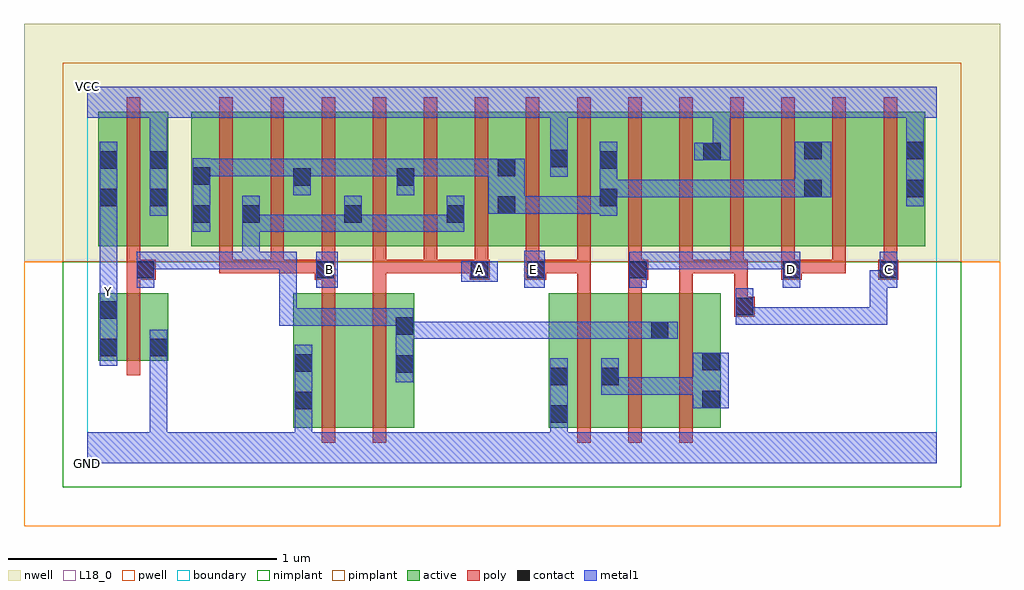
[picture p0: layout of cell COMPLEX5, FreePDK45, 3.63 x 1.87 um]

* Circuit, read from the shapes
.subckt COMPLEX5 A B C D E GND VCC Y
M1 GND n1 Y VSUBS nfet w=0.25u l=0.05u
M2 n2 B GND VSUBS nfet w=0.5u l=0.05u
M3 n1 A n2 VSUBS nfet w=0.5u l=0.05u
M4 n3 E GND VSUBS nfet w=0.5u l=0.05u
M5 n1 D n3 VSUBS nfet w=0.5u l=0.05u
M6 n3 C n1 VSUBS nfet w=0.5u l=0.05u
M7 VCC n1 Y n4 pfet w=0.5u l=0.05u
M8 n1 B n5 n4 pfet w=0.5u l=0.05u m=3
M9 n5 A n1 n4 pfet w=0.5u l=0.05u m=3
M10 VCC E n5 n4 pfet w=0.5u l=0.05u m=2
M11 n6 D n5 n4 pfet w=0.5u l=0.05u
M12 VCC C n6 n4 pfet w=0.5u l=0.05u
M13 n7 C VCC n4 pfet w=0.5u l=0.05u
M14 n5 D n7 n4 pfet w=0.5u l=0.05u
M15 n8 D n5 n4 pfet w=0.5u l=0.05u
M16 VCC C n8 n4 pfet w=0.5u l=0.05u
.ends

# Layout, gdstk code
import gdstk
lib = gdstk.Library(unit=1e-6, precision=1e-09)
def R(c, l, rs):  # rectangles x0, y0, x1, y1
    for r in rs: c.add(gdstk.rectangle(r[:2], r[2:], *l))
def A(c, l, x, y, w, h, nx, ny, dx, dy):  # array of equal rectangles
    R(c, l, [(x+i*dx, y+j*dy, x+i*dx+w, y+j*dy+h) for i in range(nx) for j in range(ny)])
active = (1, 0)
pwell = (2, 0)
nwell = (3, 0)
nimplant = (4, 0)
pimplant = (5, 0)
poly = (9, 0)
contact = (10, 0)
metal1 = (11, 0)
L18_0 = (18, 0)
boundary = (235, 0)

complex5 = lib.new_cell('COMPLEX5')
A(complex5, active, 0.572, 0.807, 0.075, 0.263, 3, 1, 0.38, 0)
R(complex5, active, [(0.767,0.132,0.992,0.632), (0.767,0.132,0.842,0.592), (0.992,0.132,1.217,0.632), (1.717,0.132,1.982,0.632), (1.717,0.132,1.792,0.632), (1.907,0.132,2.167,0.632), (2.092,0.132,2.357,0.632), (1.142,0.195,1.217,0.632), (1.907,0.195,1.982,0.592), (2.092,0.195,2.167,0.592), (2.282,0.195,2.357,0.632), (0.042,0.382,0.117,0.632), (0.042,0.382,0.302,0.632), (0.227,0.382,0.302,0.632), (0.042,0.807,0.302,1.307), (0.042,0.807,0.117,1.2), (0.227,0.807,0.302,1.307), (0.387,0.807,0.647,1.307), (0.387,0.807,0.462,1.2), (0.572,0.807,0.837,1.307), (0.762,0.807,1.027,1.307), (0.762,0.807,0.837,1.2), (0.952,0.807,1.222,1.307), (1.147,0.807,1.407,1.307), (1.147,0.807,1.222,1.2), (1.332,0.807,1.597,1.307), (1.522,0.807,1.597,1.2), (1.522,0.807,1.792,1.307), (1.717,0.807,1.977,1.307), (1.717,0.807,1.792,1.307), (1.902,0.807,2.132,1.307), (1.902,0.807,1.977,1.2), (2.132,0.807,2.362,1.307), (2.287,0.807,2.362,1.307), (2.287,0.807,2.512,1.307), (2.512,0.807,2.737,1.307), (2.662,0.807,2.892,1.307), (2.662,0.807,2.737,1.2), (2.892,0.807,3.117,1.307), (3.042,0.807,3.117,1.307)])
R(complex5, pwell, [(-0.235,-0.235,3.395,0.75)])
R(complex5, nwell, [(-0.235,0.75,3.395,1.635)])
R(complex5, nimplant, [(-0.09,-0.09,3.25,0.75)])
R(complex5, pimplant, [(-0.09,0.75,3.25,1.49)])
A(complex5, poly, 1.822, 0.077, 0.05, 0.61, 3, 1, 0.19, 0)
A(complex5, poly, 0.492, 0.707, 0.05, 0.095, 14, 1, 0.19, 0)
A(complex5, poly, 0.492, 0.752, 0.05, 0.61, 14, 1, 0.19, 0)
R(complex5, poly, [(0.872,0.077,0.922,0.687), (1.062,0.077,1.112,0.687), (0.147,0.327,0.197,0.687), (2.407,0.545,2.482,0.62), (2.407,0.57,2.457,0.757), (0.147,0.637,0.197,0.732), (0.872,0.637,0.922,0.732), (1.062,0.637,1.112,0.757), (1.822,0.637,1.872,0.757), (2.012,0.637,2.062,0.732), (2.202,0.637,2.252,0.757), (0.147,0.682,0.255,0.757), (0.847,0.682,0.922,0.757), (1.422,0.682,1.497,0.757), (1.632,0.682,1.707,0.757), (2.012,0.682,2.087,0.757), (2.582,0.682,2.657,0.757), (2.942,0.682,3.017,0.757), (0.147,0.707,0.197,0.802), (0.492,0.707,0.542,0.757), (0.492,0.707,0.542,0.757), (0.492,0.707,0.542,0.757), (0.492,0.707,0.732,0.757), (0.682,0.707,0.732,0.757), (0.682,0.707,0.732,0.757), (0.682,0.707,0.732,0.757), (0.682,0.707,0.897,0.757), (1.062,0.707,1.112,0.757), (1.062,0.707,1.112,0.757), (1.062,0.707,1.112,0.757), (1.062,0.707,1.302,0.757), (1.252,0.707,1.302,0.757), (1.252,0.707,1.302,0.757), (1.252,0.707,1.302,0.757), (1.252,0.707,1.472,0.757), (1.657,0.707,1.872,0.757), (1.822,0.707,1.872,0.757), (1.822,0.707,1.872,0.757), (1.822,0.707,1.872,0.757), (2.202,0.707,2.252,0.757), (2.202,0.707,2.252,0.757), (2.202,0.707,2.252,0.757), (2.202,0.707,2.442,0.757), (2.392,0.707,2.457,0.757), (2.407,0.707,2.457,0.757), (2.407,0.707,2.457,0.757), (2.607,0.707,2.822,0.757), (2.772,0.707,2.822,0.757), (2.772,0.707,2.822,0.757), (2.772,0.707,2.822,0.757), (0.147,0.752,0.197,1.362)])
A(complex5, contact, 0.577, 0.895, 0.065, 0.065, 3, 1, 0.38, 0)
R(complex5, contact, [(1.722,0.15,1.787,0.215), (0.772,0.2,0.837,0.265), (2.287,0.205,2.352,0.27), (1.722,0.29,1.787,0.355), (1.912,0.29,1.977,0.355), (1.147,0.337,1.212,0.402), (0.772,0.34,0.837,0.405), (2.287,0.345,2.352,0.41), (0.047,0.397,0.112,0.462), (0.232,0.397,0.297,0.462), (2.097,0.462,2.162,0.527), (1.147,0.477,1.212,0.542), (0.047,0.537,0.112,0.602), (2.412,0.55,2.477,0.615), (0.185,0.687,0.25,0.752), (0.852,0.687,0.917,0.752), (1.427,0.687,1.492,0.752), (1.637,0.687,1.702,0.752), (2.017,0.687,2.082,0.752), (2.587,0.687,2.652,0.752), (2.947,0.687,3.012,0.752), (0.392,0.895,0.457,0.96), (1.527,0.927,1.592,0.992), (0.047,0.955,0.112,1.02), (0.232,0.955,0.297,1.02), (1.907,0.955,1.972,1.02), (2.667,0.99,2.732,1.055), (3.047,0.99,3.112,1.055), (0.767,1.032,0.832,1.097), (1.152,1.032,1.217,1.097), (0.392,1.035,0.457,1.1), (1.527,1.067,1.592,1.132), (0.047,1.095,0.112,1.16), (0.232,1.095,0.297,1.16), (1.907,1.095,1.972,1.16), (1.722,1.1,1.787,1.165), (2.292,1.127,2.357,1.192), (2.667,1.13,2.732,1.195), (3.047,1.13,3.112,1.195)])
A(complex5, metal1, 0.577, 0.86, 0.065, 0.135, 3, 1, 0.38, 0)
R(complex5, metal1, [(0,0,3.16,0.115), (0.232,0.05,0.297,0.115), (0.232,0.05,0.297,0.115), (0.232,0.05,0.297,0.115), (0.232,0.05,0.297,0.115), (0.232,0.05,0.297,0.115), (0.232,0.05,0.297,0.115), (0.232,0.05,0.297,0.427), (0.772,0.05,0.837,0.115), (0.772,0.05,0.837,0.115), (0.772,0.05,0.837,0.23), (1.722,0.05,1.787,0.18), (1.722,0.115,1.787,0.39), (1.722,0.115,1.787,0.18), (1.722,0.115,1.787,0.18), (0.772,0.165,0.837,0.44), (2.252,0.205,2.387,0.41), (1.912,0.255,1.977,0.39), (1.912,0.255,1.977,0.32), (1.912,0.255,1.977,0.32), (1.912,0.255,2.115,0.32), (2.05,0.255,2.115,0.32), (2.05,0.255,2.277,0.32), (2.212,0.255,2.277,0.32), (2.212,0.255,2.317,0.32), (1.147,0.302,1.212,0.577), (0.047,0.362,0.112,0.637), (0.232,0.362,0.297,0.497), (1.147,0.462,1.212,0.527), (1.147,0.462,1.212,0.527), (1.147,0.462,1.42,0.527), (1.355,0.462,1.42,0.527), (1.355,0.462,1.42,0.527), (1.355,0.462,1.42,0.527), (1.355,0.462,1.557,0.527), (1.492,0.462,1.557,0.527), (1.492,0.462,1.557,0.527), (1.492,0.462,1.557,0.527), (1.492,0.462,1.765,0.527), (1.7,0.462,1.765,0.527), (1.7,0.462,1.765,0.527), (1.7,0.462,1.765,0.527), (1.7,0.462,1.902,0.527), (1.837,0.462,1.902,0.527), (1.837,0.462,2.127,0.527), (2.062,0.462,2.127,0.527), (2.062,0.462,2.127,0.527), (2.062,0.462,2.197,0.527), (0.715,0.512,0.78,0.787), (0.715,0.512,0.78,0.577), (0.715,0.512,0.78,0.577), (0.715,0.512,0.78,0.577), (0.715,0.512,1.075,0.577), (1.01,0.512,1.075,0.577), (1.01,0.512,1.075,0.577), (1.01,0.512,1.075,0.577), (1.01,0.512,1.212,0.577), (2.412,0.515,2.477,0.65), (2.412,0.515,2.552,0.58), (2.487,0.515,2.552,0.58), (2.487,0.515,2.552,0.58), (2.487,0.515,2.552,0.58), (2.487,0.515,2.697,0.58), (2.632,0.515,2.697,0.58), (2.632,0.515,2.837,0.58), (2.772,0.515,2.837,0.58), (2.772,0.515,2.837,0.58), (2.772,0.515,2.837,0.58), (2.772,0.515,2.975,0.58), (2.91,0.515,2.975,0.717), (2.91,0.515,2.975,0.58), (0.047,0.572,0.112,0.707), (0.047,0.572,0.112,0.637), (0.047,0.642,0.112,0.985), (0.185,0.652,0.25,0.787), (0.852,0.652,0.932,0.787), (1.625,0.652,1.702,0.79), (2.017,0.652,2.082,0.787), (2.587,0.652,2.652,0.787), (2.91,0.652,3.012,0.717), (2.91,0.652,2.975,0.717), (2.947,0.652,3.012,0.787), (1.392,0.675,1.527,0.752), (0.185,0.722,0.25,0.787), (0.185,0.722,0.25,0.787), (0.185,0.722,0.505,0.787), (0.44,0.722,0.505,0.787), (0.44,0.722,0.505,0.787), (0.44,0.722,0.505,0.787), (0.44,0.722,0.642,0.787), (0.577,0.722,0.642,0.787), (0.577,0.722,0.642,0.787), (0.577,0.722,0.642,0.787), (0.577,0.722,0.78,0.787), (0.577,0.722,0.642,0.925), (0.715,0.722,0.78,0.787), (2.017,0.722,2.14,0.787), (2.075,0.722,2.14,0.787), (2.075,0.722,2.277,0.787), (2.212,0.722,2.277,0.787), (2.212,0.722,2.277,0.787), (2.212,0.722,2.277,0.787), (2.212,0.722,2.415,0.787), (2.35,0.722,2.415,0.787), (2.35,0.722,2.56,0.787), (2.495,0.722,2.56,0.787), (2.495,0.722,2.652,0.787), (0.392,0.86,0.457,1.135), (0.577,0.86,0.642,0.925), (0.577,0.86,0.642,0.925), (0.577,0.86,0.817,0.925), (0.752,0.86,0.817,0.925), (0.752,0.86,0.817,0.925), (0.752,0.86,0.817,0.925), (0.752,0.86,1.022,0.925), (0.957,0.86,1.022,0.925), (0.957,0.86,1.022,0.925), (0.957,0.86,1.212,0.925), (1.147,0.86,1.212,0.925), (1.147,0.86,1.212,0.925), (1.147,0.86,1.212,0.925), (1.147,0.86,1.402,0.925), (0.047,0.92,0.112,1.195), (0.232,0.92,0.297,1.195), (1.907,0.92,1.972,1.195), (1.492,0.927,1.627,1.132), (1.562,0.927,1.627,0.992), (1.562,0.927,1.627,0.992), (1.562,0.927,1.627,0.992), (1.562,0.927,1.627,0.992), (1.562,0.927,1.765,0.992), (1.7,0.927,1.765,0.992), (1.7,0.927,1.765,0.992), (1.7,0.927,1.765,0.992), (1.7,0.927,1.972,0.992), (3.047,0.955,3.112,1.23), (1.907,0.99,2.115,1.055), (2.05,0.99,2.115,1.055), (2.05,0.99,2.115,1.055), (2.05,0.99,2.115,1.055), (2.05,0.99,2.277,1.055), (2.212,0.99,2.277,1.055), (2.212,0.99,2.415,1.055), (2.35,0.99,2.415,1.055), (2.35,0.99,2.415,1.055), (2.35,0.99,2.415,1.055), (2.35,0.99,2.56,1.055), (2.495,0.99,2.56,1.055), (2.495,0.99,2.697,1.055), (2.632,0.99,2.697,1.055), (2.632,0.99,2.697,1.055), (2.632,0.99,2.767,1.195), (0.767,0.997,0.832,1.132), (1.152,0.997,1.217,1.132), (1.722,1.065,1.787,1.2), (0.392,1.067,0.457,1.132), (0.392,1.067,0.457,1.132), (0.392,1.067,0.642,1.132), (0.577,1.067,0.642,1.132), (0.577,1.067,0.642,1.132), (0.577,1.067,0.642,1.132), (0.577,1.067,0.832,1.132), (0.767,1.067,0.832,1.132), (0.767,1.067,0.832,1.132), (0.767,1.067,1.075,1.132), (1.01,1.067,1.075,1.132), (1.01,1.067,1.075,1.132), (1.01,1.067,1.075,1.132), (1.01,1.067,1.217,1.132), (1.152,1.067,1.217,1.132), (1.152,1.067,1.217,1.132), (1.152,1.067,1.42,1.132), (1.355,1.067,1.42,1.132), (1.355,1.067,1.42,1.132), (1.355,1.067,1.42,1.132), (1.355,1.067,1.557,1.132), (2.257,1.127,2.392,1.192), (2.327,1.127,2.392,1.35), (0.232,1.13,0.297,1.35), (1.722,1.135,1.787,1.35), (3.047,1.165,3.112,1.35), (0,1.285,3.16,1.4)])
R(complex5, L18_0, [(0,0,3.16,0.115), (0.232,0.05,0.297,0.115), (0.232,0.05,0.297,0.115), (0.232,0.05,0.297,0.115), (0.232,0.05,0.297,0.115), (0.232,0.05,0.297,0.115), (0.232,0.05,0.297,0.115), (0.232,0.05,0.297,0.427), (0.772,0.05,0.837,0.115), (0.772,0.05,0.837,0.115), (0.772,0.05,0.837,0.23), (1.722,0.05,1.787,0.18), (1.722,0.115,1.787,0.39), (1.722,0.115,1.787,0.18), (1.722,0.115,1.787,0.18), (0.772,0.165,0.837,0.44), (0.047,0.362,0.112,0.637), (0.232,0.362,0.297,0.497), (2.412,0.515,2.477,0.65), (2.412,0.515,2.552,0.58), (2.487,0.515,2.552,0.58), (2.487,0.515,2.552,0.58), (2.487,0.515,2.552,0.58), (2.487,0.515,2.697,0.58), (2.632,0.515,2.697,0.58), (2.632,0.515,2.837,0.58), (2.772,0.515,2.837,0.58), (2.772,0.515,2.837,0.58), (2.772,0.515,2.837,0.58), (2.772,0.515,2.975,0.58), (2.91,0.515,2.975,0.58), (2.91,0.515,2.975,0.717), (0.047,0.572,0.112,0.707), (0.047,0.572,0.112,0.637), (0.047,0.607,0.112,0.672), (0.047,0.642,0.112,0.985), (0.852,0.652,0.932,0.787), (1.625,0.652,1.702,0.79), (2.017,0.652,2.082,0.787), (2.587,0.652,2.652,0.787), (2.91,0.652,2.975,0.717), (2.91,0.652,3.012,0.717), (2.947,0.652,3.012,0.787), (1.392,0.675,1.527,0.752), (0.867,0.687,0.932,0.752), (1.427,0.687,1.492,0.752), (1.627,0.687,1.692,0.752), (2.587,0.687,2.652,0.752), (2.947,0.687,3.012,0.752), (2.017,0.722,2.14,0.787), (2.075,0.722,2.14,0.787), (2.075,0.722,2.277,0.787), (2.212,0.722,2.277,0.787), (2.212,0.722,2.277,0.787), (2.212,0.722,2.277,0.787), (2.212,0.722,2.415,0.787), (2.35,0.722,2.415,0.787), (2.35,0.722,2.56,0.787), (2.495,0.722,2.56,0.787), (2.495,0.722,2.652,0.787), (0.047,0.92,0.112,1.195), (0.232,0.92,0.297,1.195), (3.047,0.955,3.112,1.23), (1.722,1.065,1.787,1.2), (2.257,1.127,2.392,1.192), (2.327,1.127,2.392,1.35), (0.232,1.13,0.297,1.35), (1.722,1.135,1.787,1.35), (3.047,1.165,3.112,1.35), (0,1.285,3.16,1.4)])
R(complex5, boundary, [(0,0,3.16,1.4)])
complex5.add(gdstk.Label('A', (1.46,0.72), layer=11, texttype=0))
complex5.add(gdstk.Label('B', (0.9,0.72), layer=11, texttype=0))
complex5.add(gdstk.Label('C', (2.98,0.72), layer=11, texttype=0))
complex5.add(gdstk.Label('D', (2.62,0.72), layer=11, texttype=0))
complex5.add(gdstk.Label('E', (1.66,0.72), layer=11, texttype=0))
complex5.add(gdstk.Label('Y', (0.08,0.64), layer=11, texttype=0))
complex5.add(gdstk.Label('VCC', (0,1.4), layer=11, texttype=0))
complex5.add(gdstk.Label('GND', (0,0), layer=11, texttype=0))

lib.write_gds('COMPLEX5.gds')
